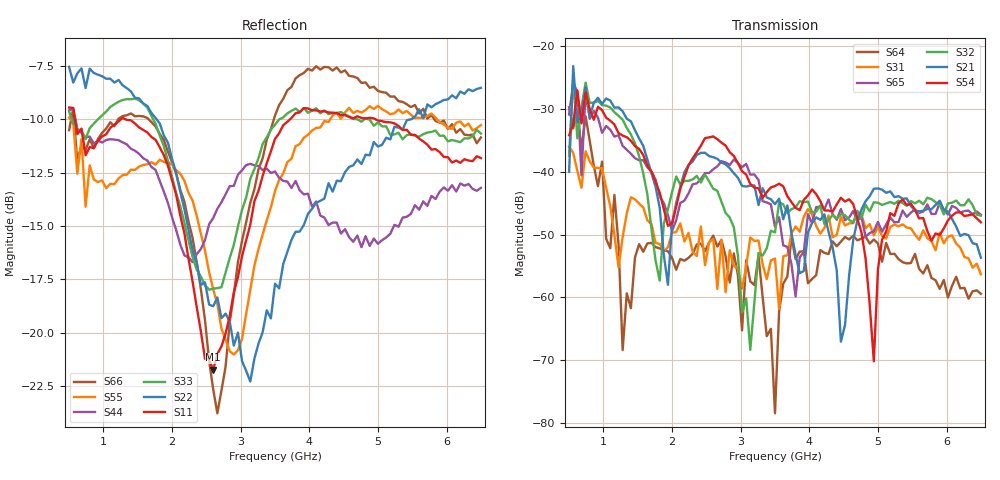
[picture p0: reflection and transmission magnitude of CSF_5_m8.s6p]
!Keysight Technologies,M9804A,MY58100912,A.14.10.03
!Date: Thursday, April 27, 2023 10:28:33
!Correction: S11(C  6-Port  )
!S12(C  6-Port  )
!S13(C  6-Port  )
!S14(C  6-Port  )
!S15(C  6-Port  )
!S16(C  6-Port  )
!S21(C  6-Port  )
!S22(C  6-Port  )
!S23(C  6-Port  )
!S24(C  6-Port  )
!S25(C  6-Port  )
!S26(C  6-Port  )
!S31(C  6-Port  )
!S32(C  6-Port  )
!S33(C  6-Port  )
!S34(C  6-Port  )
!S35(C  6-Port  )
!S36(C  6-Port  )
!S41(C  6-Port  )
!S42(C  6-Port  )
!S43(C  6-Port  )
!S44(C  6-Port  )
!S45(C  6-Port  )
!S46(C  6-Port  )
!S51(C  6-Port  )
!S52(C  6-Port  )
!S53(C  6-Port  )
!S54(C  6-Port  )
!S55(C  6-Port  )
!S56(C  6-Port  )
!S61(C  6-Port  )
!S62(C  6-Port  )
!S63(C  6-Port  )
!S64(C  6-Port  )
!S65(C  6-Port  )
!S66(C  6-Port  )
!S6P File: Measurement: :
# Hz S  RI  R 50
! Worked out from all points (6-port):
!   101 points, 500 MHz to 6.5 GHz, reference 50 ohm
!   strongest paths, dB at 500 MHz, 2 GHz, 3.5 GHz, 5 GHz, 6.5 GHz:
!     S54: -34.2, -48.2, -42.3, -55.6, -48.0
!     S21: -40.0, -48.4, -45.2, -42.6, -53.7
!     S32: -37.4, -43.2, -49.7, -44.9, -47.0
!     S65: -30.9, -49.4, -48.8, -48.0, -46.8
!     S31: -36.0, -49.7, -53.8, -48.8, -56.3
!     S64: -29.7, -53.7, -78.5, -51.4, -59.5
!   lowest |S11| = -21.7 dB at 2.6 GHz (marker M1), VSWR 1.18, Z = 42.7 + j1.97 ohm
!   |S11| at or under -10 dB: 586 MHz to 1.256 GHz (670.4 MHz wide, 72.8 % of centre); 1.322 GHz to 3.718 GHz (2.396 GHz wide, 95.1 % of centre); 4.966 GHz to end of sweep
